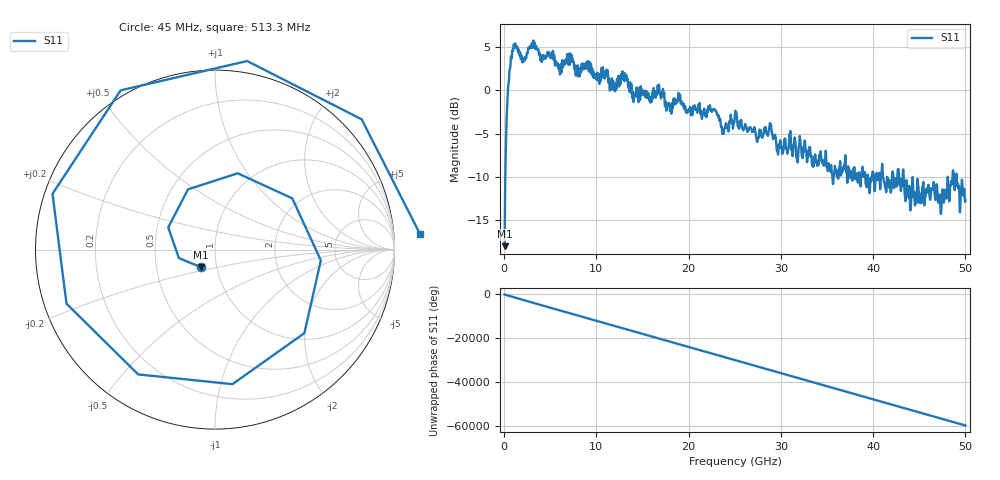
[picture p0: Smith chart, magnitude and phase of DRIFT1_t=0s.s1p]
!Created with skrf (http://scikit-rf.org).
# Hz S RI R 50.0
!freq ReS11 ImS11
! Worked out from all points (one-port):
!   1601 points, 45 MHz to 50 GHz, reference 50 ohm
!   lowest |S11| = -18.0 dB at 45 MHz (marker M1), VSWR 1.29, Z = 42 - j8.39 ohm
!   |S11| at or under -10 dB: 41.08 GHz to 42.05 GHz (969.9 MHz wide, 2.33 % of centre); 43.31 GHz to 48.61 GHz (5.296 GHz wide, 11.5 % of centre); 49.06 GHz to end of sweep (the widest 3 of 23)
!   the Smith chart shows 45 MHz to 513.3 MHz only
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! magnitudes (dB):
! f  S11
! 45 MHz  -18.0
! 450.9 MHz  0.6
! 981.7 MHz  4.7
! 2.168 GHz  3.8
! 3.23 GHz  5.0
! 6.289 GHz  3.5
! 7.195 GHz  3.3
! 7.975 GHz  2.9
! 12.53 GHz  1.6
! 13.03 GHz  1.1
! 14.09 GHz  -0.7
! 18.78 GHz  -1.0
! 22.81 GHz  -2.3
! 23.74 GHz  -4.9
! 25.02 GHz  -2.6
! 27.43 GHz  -6.0
! 28.86 GHz  -4.0
! 29.77 GHz  -6.3
! 31.27 GHz  -7.6
! 35.54 GHz  -9.8
! 37.51 GHz  -10.2
! 39.42 GHz  -9.8
! 42.69 GHz  -9.2
! 43.76 GHz  -11.3
! 46.69 GHz  -12.2
! 47.22 GHz  -12.1
! 48.84 GHz  -11.6
! 50 GHz  -12.7
